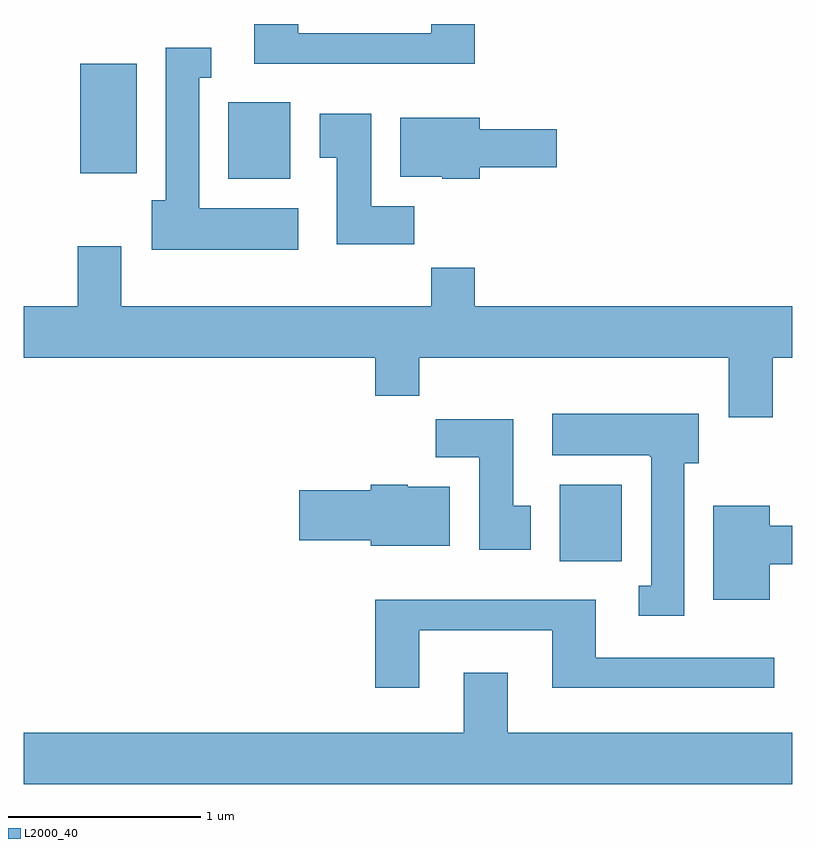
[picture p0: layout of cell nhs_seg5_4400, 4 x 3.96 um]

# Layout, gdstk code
import gdstk
lib = gdstk.Library(unit=1e-6, precision=1e-09)
def R(c, l, rs):  # rectangles x0, y0, x1, y1
    for r in rs: c.add(gdstk.rectangle(r[:2], r[2:], *l))
def P(c, l, *ps):  # polygons
    for p in ps: c.add(gdstk.Polygon(p, *l))
L2000_40 = (2000, 40)

nhs_seg5_4400 = lib.new_cell('nhs_seg5_4400')
R(nhs_seg5_4400, L2000_40, [(318.401,1471.276,318.724,1471.674), (316.676,1473.266,316.999,1473.664), (315.906,1473.296,316.199,1473.864)])
P(nhs_seg5_4400, L2000_40, [(317.959,1474.072),(317.731,1474.072),(317.731,1474.024),(317.039,1474.024),(317.039,1474.072),(316.811,1474.072),(316.811,1473.866),(317.959,1473.866)],
  [(317.039,1473.114),(316.524,1473.114),(316.524,1473.791),(316.588,1473.791),(316.588,1473.949),(316.351,1473.949),(316.351,1473.154),(316.276,1473.154),(316.276,1472.896),(317.039,1472.896)],
  [(317.644,1473.124),(317.419,1473.124),(317.419,1473.604),(317.151,1473.604),(317.151,1473.376),(317.241,1473.376),(317.241,1472.926),(317.644,1472.926)],
  [(317.984,1473.326),(318.384,1473.326),(318.384,1473.524),(317.984,1473.524),(317.984,1473.584),(317.571,1473.584),(317.571,1473.276),(317.79,1473.276),(317.79,1473.266),(317.984,1473.266)],
  [(319.509,1472.336),(319.611,1472.336),(319.611,1472.604),(317.959,1472.604),(317.959,1472.804),(317.731,1472.804),(317.731,1472.604),(316.119,1472.604),(316.119,1472.914),(315.891,1472.914),(315.891,1472.604),(315.611,1472.604),(315.611,1472.336),(317.441,1472.336),(317.441,1472.136),(317.669,1472.136),(317.669,1472.336),(319.281,1472.336),(319.281,1472.026),(319.509,1472.026)],
  [(319.049,1471.786),(319.124,1471.786),(319.124,1472.044),(318.361,1472.044),(318.361,1471.826),(318.87,1471.826),(318.87,1471.82),(318.876,1471.82),(318.876,1471.149),(318.813,1471.149),(318.813,1470.991),(319.049,1470.991)],
  [(318.249,1471.564),(318.159,1471.564),(318.159,1472.014),(317.756,1472.014),(317.756,1471.816),(317.981,1471.816),(317.981,1471.336),(318.249,1471.336)],
  [(317.829,1471.664),(317.61,1471.664),(317.61,1471.674),(317.416,1471.674),(317.416,1471.644),(317.046,1471.644),(317.046,1471.386),(317.416,1471.386),(317.416,1471.356),(317.829,1471.356)],
  [(319.494,1471.261),(319.611,1471.261),(319.611,1471.459),(319.494,1471.459),(319.494,1471.564),(319.201,1471.564),(319.201,1471.076),(319.494,1471.076)],
  [(317.669,1470.916),(318.361,1470.916),(318.361,1470.616),(319.518,1470.616),(319.518,1470.774),(318.589,1470.774),(318.589,1471.074),(317.441,1471.074),(317.441,1470.616),(317.669,1470.616)],
  [(319.611,1470.384),(318.129,1470.384),(318.129,1470.694),(317.901,1470.694),(317.901,1470.384),(315.611,1470.384),(315.611,1470.116),(319.611,1470.116)])

lib.write_gds('nhs_seg5_4400.gds')
